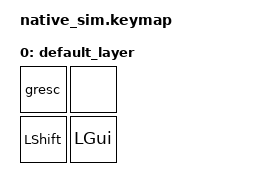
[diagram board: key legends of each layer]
#include <dt-bindings/zmk/keys.h>
#include <behaviors.dtsi>
#include <dt-bindings/zmk/input_mock.h>

/ {
    keymap {
        compatible = "zmk,keymap";

        default_layer {
            bindings = <
                &gresc         &none
                &kp LEFT_SHIFT &kp LEFT_GUI
            >;
        };
    };
};

&mock_input {
    events = <
        /* esc */
        ZMK_INPUT_MOCK_PRESS(0,0,10)
        ZMK_INPUT_MOCK_RELEASE(0,0,10)

        /* ~ */
        ZMK_INPUT_MOCK_PRESS(1,0,10)
        ZMK_INPUT_MOCK_PRESS(0,0,10)
        ZMK_INPUT_MOCK_RELEASE(0,0,10)
        ZMK_INPUT_MOCK_RELEASE(1,0,10)

        /* LGUI+` */
        ZMK_INPUT_MOCK_PRESS(1,1,10)
        ZMK_INPUT_MOCK_PRESS(0,0,10)
        ZMK_INPUT_MOCK_RELEASE(0,0,10)
        ZMK_INPUT_MOCK_RELEASE(1,1,10)

        /* ~ */
        ZMK_INPUT_MOCK_PRESS(1,0,10)
        ZMK_INPUT_MOCK_PRESS(0,0,10)
        ZMK_INPUT_MOCK_RELEASE(1,0,10)
        ZMK_INPUT_MOCK_RELEASE(0,0,10)

        /* LGUI+` */
        ZMK_INPUT_MOCK_PRESS(1,1,10)
        ZMK_INPUT_MOCK_PRESS(0,0,10)
        ZMK_INPUT_MOCK_RELEASE(1,1,10)
        ZMK_INPUT_MOCK_RELEASE(0,0,10)
    >;
};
